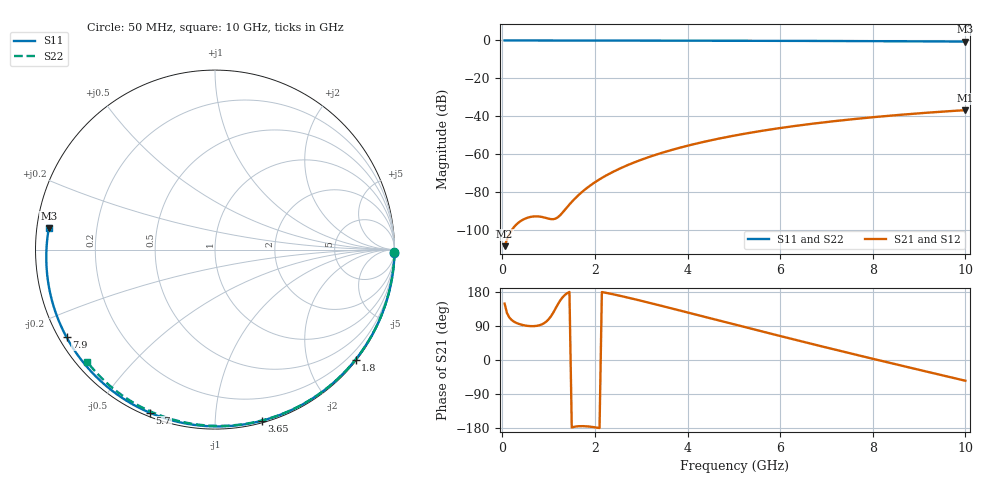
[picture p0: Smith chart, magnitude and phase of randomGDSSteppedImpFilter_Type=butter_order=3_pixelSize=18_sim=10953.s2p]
! freq	dB(S11)	phase(S11)	dB(S12)	phase(S12)
!  dB(S21)	phase(S21)	dB(S22)	phase(S22)
!S-par simulation data
#  GHz  S  DB  R 50
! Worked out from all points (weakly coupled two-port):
!   200 points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, 50 MHz to 10 GHz, reference 50 ohm
!   highest |S21| = -36.78 dB at 10 GHz (marker M1); lowest = -108.6 dB at 50 MHz (marker M2)
!   lowest |S11| = -0.6 dB at 10 GHz (marker M3), VSWR 29.11, Z = 1.72 + j3.16 ohm
!   |S11| at or under -10 dB: nowhere
!   |S22| runs from -0.5 to 0.0 dB; largest |S21 - S12| = 0
!   S11 on the Smith chart (normalised r, x): 50 MHz: open; 1.8 GHz: 0.03, -2.90; 3.65 GHz: 0.02, -1.31; 5.7 GHz: 0.02, -0.68; 7.9 GHz: 0.02, -0.27; 10 GHz: 0.03, +0.06
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0.05  -0.00 -1.1  -108.55 148.8  -108.55 148.8  -0.00 -0.8
0.45  -0.01 -9.7  -94.53 92.1  -94.53 92.1  -0.01 -7.2
0.85  -0.02 -18.2  -93.11 93.8  -93.11 93.8  -0.02 -13.6
1.25  -0.03 -26.6  -92.21 157.0  -92.21 157.0  -0.02 -19.9
1.7  -0.05 -36.0  -80.40 -174.5  -80.40 -174.5  -0.03 -26.9
1.75  -0.05 -37.0  -79.36 -174.6  -79.36 -174.6  -0.04 -27.7
1.8  -0.05 -38.0  -78.37 -174.9  -78.37 -174.9  -0.04 -28.4
2.1  -0.06 -44.2  -73.28 -179.5  -73.28 -179.5  -0.04 -33.1
2.5  -0.07 -52.2  -68.04 170.6  -68.04 170.6  -0.05 -39.2
2.9  -0.08 -60.2  -63.87 159.2  -63.87 159.2  -0.06 -45.2
3.4  -0.09 -69.9  -59.65 144.1  -59.65 144.1  -0.07 -52.6
3.65  -0.10 -74.6  -57.84 136.4  -57.84 136.4  -0.08 -56.2
4.35  -0.12 -87.7  -53.51 114.6  -53.51 114.6  -0.09 -66.3
5.05  -0.15 -100.3  -50.02 92.7  -50.02 92.7  -0.12 -76.0
5.7  -0.19 -111.7  -47.32 72.5  -47.32 72.5  -0.14 -84.8
6.2  -0.22 -120.4  -45.52 57.2  -45.52 57.2  -0.16 -91.4
6.7  -0.25 -129.0  -43.93 42.0  -43.93 42.0  -0.19 -97.9
7.3  -0.30 -139.2  -42.24 23.9  -42.24 23.9  -0.23 -105.6
7.9  -0.35 -149.4  -40.75 6.2  -40.75 6.2  -0.27 -113.0
8.35  -0.40 -157.2  -39.75 -7.0  -39.75 -7.0  -0.30 -118.6
9.2  -0.49 -172.3  -38.09 -31.7  -38.09 -31.7  -0.38 -128.9
10  -0.60 172.8  -36.78 -54.7  -36.78 -54.7  -0.47 -138.6
